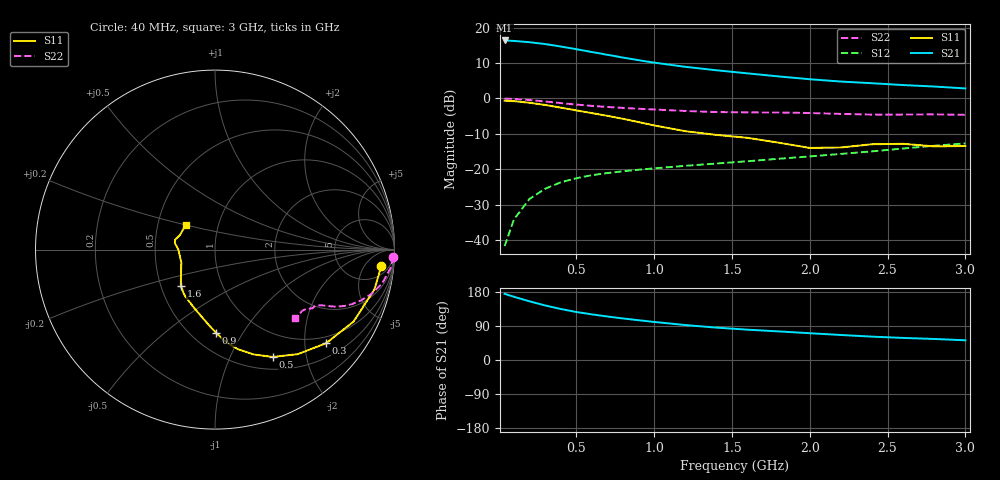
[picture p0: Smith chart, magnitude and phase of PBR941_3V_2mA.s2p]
! Filename:  PBR941C.S2P  Version:  3.0
! Philips part #:  PBR941  Date: July 1998
! Bias condition:  Vce=3V, Ic=2.0mA
#  MHz  S  MA  R 50
! Freq  S11  S21  S12  S22
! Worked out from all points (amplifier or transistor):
!   21 points, 40 MHz to 3 GHz, reference 50 ohm
!   highest |S21| = 16.4 dB at 40 MHz (marker M1)
!   |S21| within 3 dB of that: start of sweep to 567.8 MHz
!   unconditionally stable (mu >= 1): 1.722 GHz to end of sweep
!   at 300 MHz: K = 0.27, MSG = 20.4 dB, |S12| = -25.5 dB
!   at 1 GHz: K = 0.75, MSG = 14.9 dB, |S12| = -19.7 dB
!   at 3 GHz: K = 1.02, MAG = 6.9 dB, |S12| = -12.7 dB
!   S11 on the Smith chart (normalised r, x): 40 MHz: 10, -13; 300 MHz: 0.83, -2.50; 500 MHz: 0.66, -1.46; 900 MHz: 0.65, -0.77; 1.6 GHz: 0.63, -0.28; 3 GHz: 0.69, +0.20
40  0.9315 -5.6  6.574 174.6  0.00826 86.7  0.9942 -2.4
100  0.9158 -13.9  6.474 166.9  0.0197 82.5  0.9842 -5.9
200  0.8701 -27.4  6.209 154.8  0.03836 74.9  0.9509 -11.3
300  0.8095 -40.1  5.851 144.0  0.05326 69.3  0.9064 -15.8
400  0.7429 -51.6  5.4 134.7  0.06556 64.6  0.8607 -19.2
500  0.6791 -61.7  4.953 126.8  0.07491 61.6  0.8199 -21.8
600  0.6216 -69.9  4.519 120.4  0.08279 59.6  0.7856 -23.6
700  0.569 -77.1  4.13 114.8  0.08871 58.5  0.7584 -24.7
800  0.5167 -83.3  3.775 109.7  0.09397 58.0  0.7362 -25.6
900  0.4645 -89.1  3.462 105.0  0.09879 57.9  0.7164 -26.1
1000  0.4171 -95.4  3.202 100.5  0.1034 58.2  0.6983 -26.6
1200  0.3456 -109.6  2.793 92.2  0.1122 59.3  0.6662 -27.7
1400  0.3062 -123.6  2.499 85.4  0.1209 60.9  0.6434 -29.1
1600  0.2785 -133.1  2.258 80.0  0.1302 63.3  0.6358 -30.3
1800  0.2379 -142.8  2.045 75.4  0.1411 66.2  0.6334 -31.1
2000  0.2005 -159.4  1.867 70.7  0.1522 68.2  0.6234 -31.9
2200  0.2036 -179.3  1.732 66.0  0.1651 69.9  0.6054 -33.1
2400  0.2261 170.9  1.64 61.7  0.1795 71.5  0.5923 -35.4
2600  0.2292 166.1  1.545 58.2  0.1968 73.3  0.5925 -38.0
2800  0.2109 157.1  1.473 55.5  0.2153 74.5  0.596 -39.8
3000  0.2135 140.2  1.385 52.0  0.2324 75.1  0.5875 -40.8
